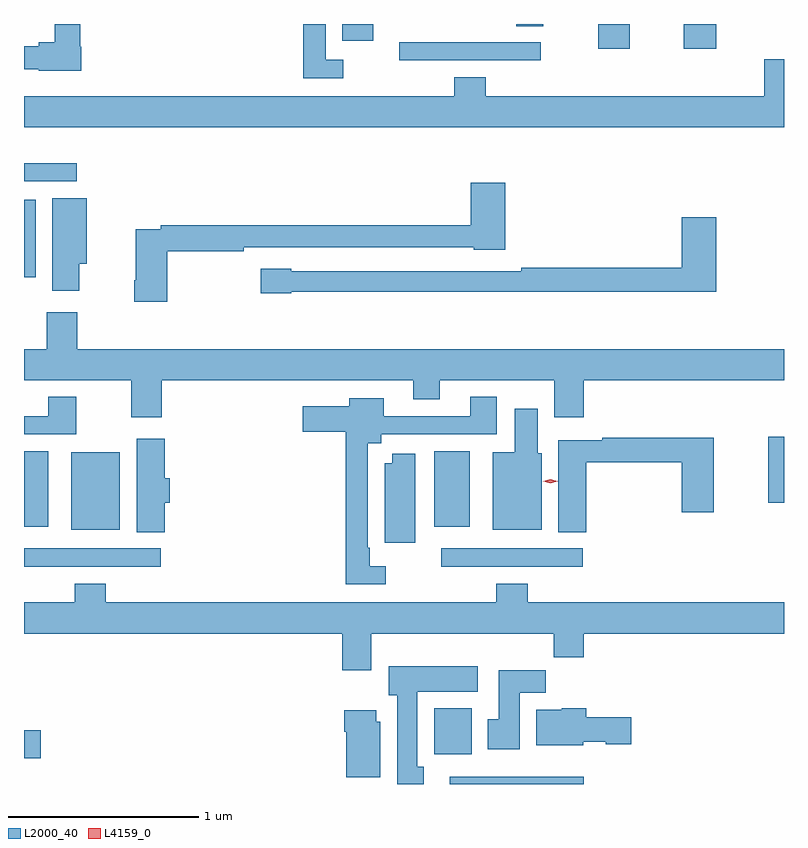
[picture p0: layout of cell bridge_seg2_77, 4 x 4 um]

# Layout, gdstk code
import gdstk
lib = gdstk.Library(unit=1e-6, precision=1e-09)
def R(c, l, rs):  # rectangles x0, y0, x1, y1
    for r in rs: c.add(gdstk.rectangle(r[:2], r[2:], *l))
def P(c, l, *ps):  # polygons
    for p in ps: c.add(gdstk.Polygon(p, *l))
L2000_40 = (2000, 40)
L4159_0 = (4159, 0)

bridge_seg2_77 = lib.new_cell('bridge_seg2_77')
R(bridge_seg2_77, L2000_40, [(365.243,650.84,365.948,650.878), (363.003,650.975,363.091,651.122), (365.162,650.996,365.359,651.238), (363.003,651.984,363.724,652.08), (365.199,651.984,365.944,652.08), (363.251,652.178,363.508,652.585), (363.003,652.193,363.13,652.591), (365.162,652.193,365.35,652.591), (366.92,652.319,367.003,652.668), (363.003,653.507,363.064,653.914), (363.003,654.012,363.28,654.108), (364.977,654.648,365.722,654.744), (366.025,654.711,366.19,654.84), (366.476,654.711,366.647,654.84), (364.679,654.753,364.84,654.84), (365.594,654.829,365.736,654.84)])
P(bridge_seg2_77, L2000_40, [(364.684,654.651),(364.59,654.651),(364.59,654.84),(364.474,654.84),(364.474,654.555),(364.684,654.555)],
  [(363.304,654.72),(363.299,654.72),(363.299,654.84),(363.164,654.84),(363.164,654.745),(363.081,654.745),(363.081,654.724),(363.003,654.724),(363.003,654.602),(363.081,654.602),(363.081,654.593),(363.304,654.593)],
  [(367.003,654.655),(366.899,654.655),(366.899,654.46),(365.432,654.46),(365.432,654.559),(365.267,654.559),(365.267,654.46),(363.003,654.46),(363.003,654.296),(367.003,654.296)],
  [(363.756,653.644),(364.16,653.644),(364.16,653.664),(365.37,653.664),(365.37,653.651),(365.537,653.651),(365.537,654.004),(365.354,654.004),(365.354,653.78),(363.724,653.78),(363.724,653.76),(363.59,653.76),(363.59,653.491),(363.583,653.491),(363.583,653.379),(363.756,653.379)],
  [(363.294,653.579),(363.334,653.579),(363.334,653.923),(363.152,653.923),(363.152,653.436),(363.294,653.436)],
  [(364.41,653.43),(366.647,653.43),(366.647,653.824),(366.464,653.824),(366.464,653.558),(365.62,653.558),(365.62,653.538),(364.41,653.538),(364.41,653.551),(364.248,653.551),(364.248,653.422),(364.41,653.422)],
  [(363.284,653.323),(363.124,653.323),(363.124,653.128),(363.003,653.128),(363.003,652.964),(363.568,652.964),(363.568,652.77),(363.728,652.77),(363.728,652.964),(365.051,652.964),(365.051,652.865),(365.191,652.865),(365.191,652.964),(365.795,652.964),(365.795,652.77),(365.948,652.77),(365.948,652.964),(367.003,652.964),(367.003,653.128),(363.284,653.128)],
  [(364.906,651.987),(364.824,651.987),(364.824,652.084),(364.812,652.084),(364.812,652.634),(364.882,652.634),(364.882,652.68),(365.491,652.68),(365.491,652.879),(365.351,652.879),(365.351,652.776),(364.897,652.776),(364.897,652.87),(364.715,652.87),(364.715,652.828),(364.47,652.828),(364.47,652.694),(364.696,652.694),(364.696,651.891),(364.906,651.891)],
  [(363.279,652.879),(363.131,652.879),(363.131,652.776),(363.003,652.776),(363.003,652.68),(363.279,652.68)],
  [(365.728,652.581),(365.707,652.581),(365.707,652.816),(365.585,652.816),(365.585,652.585),(365.471,652.585),(365.471,652.178),(365.728,652.178)],
  [(365.963,652.534),(366.464,652.534),(366.464,652.269),(366.634,652.269),(366.634,652.663),(366.046,652.663),(366.046,652.65),(365.816,652.65),(365.816,652.165),(365.963,652.165)],
  [(363.743,652.319),(363.769,652.319),(363.769,652.449),(363.743,652.449),(363.743,652.657),(363.596,652.657),(363.596,652.165),(363.743,652.165)],
  [(365.062,652.577),(364.94,652.577),(364.94,652.528),(364.901,652.528),(364.901,652.11),(365.062,652.11)],
  [(364.831,651.632),(365.791,651.632),(365.791,651.508),(365.948,651.508),(365.948,651.632),(367.003,651.632),(367.003,651.796),(365.654,651.796),(365.654,651.895),(365.489,651.895),(365.489,651.796),(363.434,651.796),(363.434,651.895),(363.269,651.895),(363.269,651.796),(363.003,651.796),(363.003,651.632),(364.679,651.632),(364.679,651.438),(364.831,651.438)],
  [(365.107,650.93),(365.074,650.93),(365.074,651.326),(365.392,651.326),(365.392,651.46),(364.922,651.46),(364.922,651.306),(364.967,651.306),(364.967,650.84),(365.107,650.84)],
  [(365.611,651.32),(365.75,651.32),(365.75,651.439),(365.501,651.439),(365.501,651.18),(365.444,651.18),(365.444,651.024),(365.611,651.024)],
  [(365.946,651.062),(366.066,651.062),(366.066,651.05),(366.199,651.05),(366.199,651.192),(365.963,651.192),(365.963,651.238),(365.832,651.238),(365.832,651.232),(365.699,651.232),(365.699,651.044),(365.946,651.044)],
  [(364.879,651.168),(364.858,651.168),(364.858,651.229),(364.688,651.229),(364.688,651.116),(364.7,651.116),(364.7,650.876),(364.879,650.876)])
P(bridge_seg2_77, L4159_0, [(365.773,652.423),(365.735,652.433),(365.735,652.433),(365.735,652.433),(365.773,652.444),(365.811,652.434),(365.811,652.434),(365.811,652.433)])

lib.write_gds('bridge_seg2_77.gds')
